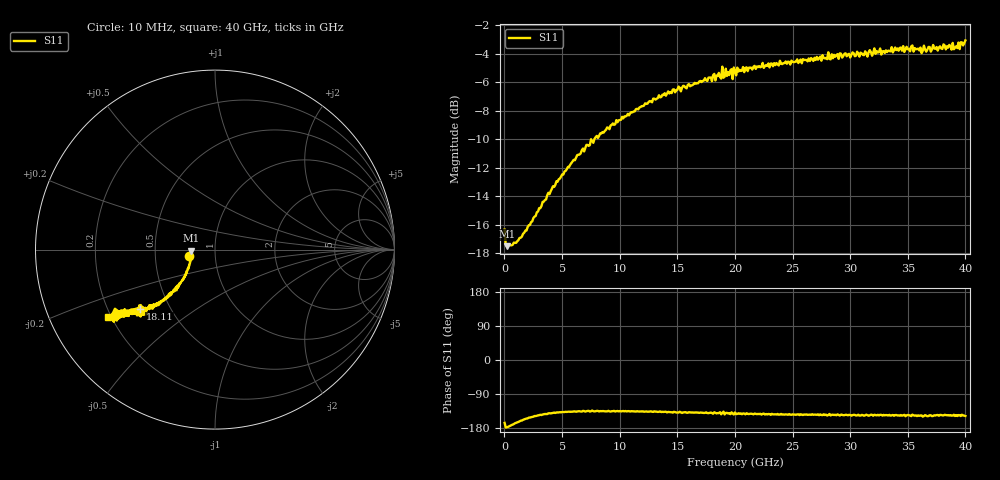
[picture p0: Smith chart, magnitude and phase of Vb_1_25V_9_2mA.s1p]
!Agilent Technologies,N5247A,US51170167,A.09.90.10
!Agilent N5247A: A.09.90.10
!Date: Tuesday, November 22, 2016 15:34:26
!Correction: S22(Full 1 Port(2))
!S1P File: Measurement: S22:
# Hz S  RI  R 50
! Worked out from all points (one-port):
!   401 points, 10 MHz to 40 GHz, reference 50 ohm
!   lowest |S11| = -17.5 dB at 209.9 MHz (marker M1), VSWR 1.31, Z = 38.3 - j0.453 ohm
!   |S11| at or under -10 dB: start of sweep to 7.804 GHz
!   S11 on the Smith chart (normalised r, x): 10 MHz: 0.74, -0.06; 18.11 GHz: 0.34, -0.31; 40 GHz: 0.19, -0.28
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1e7  -0.1475 -0.0369
2.0995e8  -0.1329 -0.00582
3.09925e8  -0.1342 -0.00821
5.09875e8  -0.133 -0.0161
1.309675e9  -0.1351 -0.0444
5.00875e9  -0.1743 -0.1618
7.308175e9  -0.2086 -0.215
1.00075e10  -0.2596 -0.2626
1.24069e10  -0.3049 -0.2908
1.500625e10  -0.3539 -0.3116
1.810548e10  -0.4172 -0.3284
1.860535e10  -0.4148 -0.347
1.910522e10  -0.4222 -0.3109
1.930518e10  -0.4011 -0.3427
2.0005e10  -0.4122 -0.3658
2.12047e10  -0.4488 -0.3416
2.500375e10  -0.4746 -0.3529
2.940265e10  -0.5122 -0.3486
3.00025e10  -0.5019 -0.3506
3.100225e10  -0.5178 -0.365
3.190202e10  -0.5076 -0.3582
3.500125e10  -0.5373 -0.3743
3.52012e10  -0.5379 -0.3542
3.650088e10  -0.5387 -0.3703
3.80005e10  -0.5438 -0.3673
3.92002e10  -0.5518 -0.3807
3.96001e10  -0.5869 -0.3686
4e10  -0.5948 -0.3749
